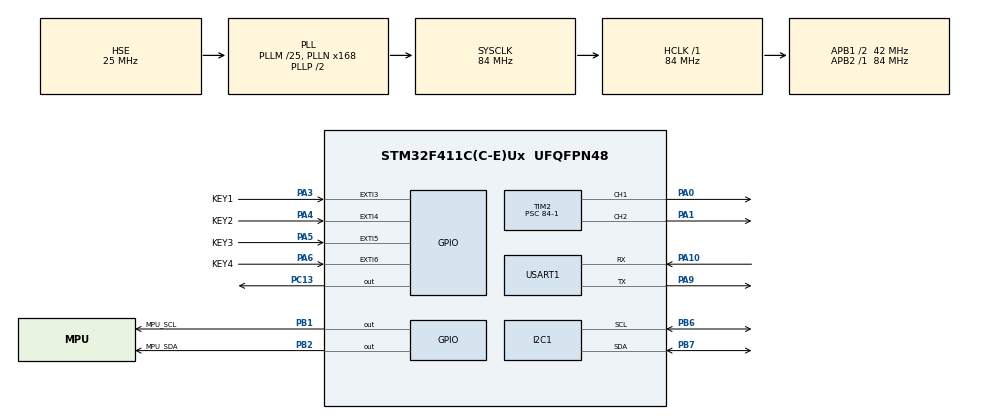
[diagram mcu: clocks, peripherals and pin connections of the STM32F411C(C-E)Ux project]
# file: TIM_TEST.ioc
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Mcu.Family=STM32F4
Mcu.Name=STM32F411C(C-E)Ux
Mcu.Package=UFQFPN48
NVIC.PriorityGroup=NVIC_PRIORITYGROUP_4
NVIC.TIM1_UP_TIM10_IRQn=true\:0\:0\:false\:false\:true\:true\:true\:true
NVIC.TIM2_IRQn=true\:0\:0\:false\:false\:true\:true\:true\:true
NVIC.USART1_IRQn=true\:0\:0\:false\:false\:true\:true\:true\:true
PA0-WKUP.Signal=S_TIM2_CH1_ETR
PA1.Signal=S_TIM2_CH2
PA10.Mode=Asynchronous
PA10.Signal=USART1_RX
PA13.Mode=Serial_Wire
PA13.Signal=SYS_JTMS-SWDIO
PA14.Mode=Serial_Wire
PA14.Signal=SYS_JTCK-SWCLK
PA3.GPIO_Label=KEY1
PA3.GPIO_ModeDefaultEXTI=GPIO_MODE_IT_FALLING
PA3.GPIO_PuPd=GPIO_PULLUP
PA3.Signal=GPXTI3
PA4.GPIO_Label=KEY2
PA4.GPIO_ModeDefaultEXTI=GPIO_MODE_IT_FALLING
PA4.GPIO_PuPd=GPIO_PULLUP
PA4.Signal=GPXTI4
PA5.GPIO_Label=KEY3
PA5.GPIO_ModeDefaultEXTI=GPIO_MODE_IT_FALLING
PA5.GPIO_PuPd=GPIO_PULLUP
PA5.Signal=GPXTI5
PA6.GPIO_Label=KEY4
PA6.GPIO_ModeDefaultEXTI=GPIO_MODE_IT_FALLING
PA6.GPIO_PuPd=GPIO_PULLUP
PA6.Signal=GPXTI6
PA9.Mode=Asynchronous
PA9.Signal=USART1_TX
PB1.GPIO_Label=MPU_SCL
PB1.GPIO_ModeDefaultOutputPP=GPIO_MODE_OUTPUT_OD
PB1.GPIO_PuPd=GPIO_PULLUP
PB1.Signal=GPIO_Output
PB2.GPIO_Label=MPU_SDA
PB2.GPIO_ModeDefaultOutputPP=GPIO_MODE_OUTPUT_OD
PB2.GPIO_PuPd=GPIO_PULLUP
PB2.Signal=GPIO_Output
PB6.Mode=I2C
PB6.Signal=I2C1_SCL
PB7.Mode=I2C
PB7.Signal=I2C1_SDA
PC13-ANTI_TAMP.GPIO_PuPd=GPIO_PULLUP
PC13-ANTI_TAMP.Signal=GPIO_Output
PH0\ -\ OSC_IN.Mode=HSE-External-Oscillator
PH0\ -\ OSC_IN.Signal=RCC_OSC_IN
PH1\ -\ OSC_OUT.Mode=HSE-External-Oscillator
PH1\ -\ OSC_OUT.Signal=RCC_OSC_OUT
ProjectManager.HeapSize=0x200
ProjectManager.StackSize=0x400
ProjectManager.TargetToolchain=MDK-ARM V5.32
RCC.48MHZClocksFreq_Value=42000000
RCC.AHBFreq_Value=84000000
RCC.APB1CLKDivider=RCC_HCLK_DIV2
RCC.APB1Freq_Value=42000000
RCC.APB1TimFreq_Value=84000000
RCC.APB2Freq_Value=84000000
RCC.APB2TimFreq_Value=84000000
RCC.CortexFreq_Value=84000000
RCC.HCLKFreq_Value=84000000
RCC.HSE_VALUE=25000000
RCC.HSI_VALUE=16000000
RCC.LSE_VALUE=32768
RCC.PLLM=25
RCC.PLLN=168
RCC.PLLSourceVirtual=RCC_PLLSOURCE_HSE
RCC.SYSCLKFreq_VALUE=84000000
RCC.SYSCLKSource=RCC_SYSCLKSOURCE_PLLCLK
RCC.VCOOutputFreq_Value=168000000
SH.S_TIM2_CH1_ETR.0=TIM2_CH1,PWM Generation1 CH1
SH.S_TIM2_CH2.0=TIM2_CH2,PWM Generation2 CH2
TIM1.Period=10000-1
TIM1.Prescaler=84-1
TIM2.Channel-PWM\ Generation1\ CH1=TIM_CHANNEL_1
TIM2.Channel-PWM\ Generation2\ CH2=TIM_CHANNEL_2
TIM2.Period=20000-1
TIM2.Prescaler=84-1
USART1.VirtualMode=VM_ASYNC
VP_TIM1_VS_ClockSourceINT.Mode=Internal
VP_TIM2_VS_ClockSourceINT.Mode=Internal
VP_TIM9_VS_ClockSourceINT.Mode=Internal
board=custom

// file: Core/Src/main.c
/* USER CODE BEGIN Header */
/**
  ******************************************************************************
  * @file           : main.c
  * @brief          : Main program body
  ******************************************************************************
  * @attention
  *
  * Copyright (c) 2025 STMicroelectronics.
  * All rights reserved.
  *
  * This software is licensed under terms that can be found in the LICENSE file
  * in the root directory of this software component.
  * If no LICENSE file comes with this software, it is provided AS-IS.
  *
  ******************************************************************************
  */
/* USER CODE END Header */
#include "main.h"
#include "i2c.h"
#include "tim.h"
#include "usart.h"
#include "gpio.h"

/* USER CODE BEGIN Includes */
#include "pid.h"
#include "control.h"
#include "servo.h"
#include "mpu6050.h"
#include "Print.h"
/* USER CODE END Includes */

/* USER CODE BEGIN PV */
uint8_t uart1_rxbuff;
uint8_t show_flag;
float pitch, roll, yaw;
/* USER CODE END PV */

void SystemClock_Config(void);

int main(void)
{

  /* MCU Configuration--------------------------------------------------------*/

  /* Reset of all peripherals, Initializes the Flash interface and the Systick. */
  HAL_Init();

  /* Configure the system clock */
  SystemClock_Config();

  /* Initialize all configured peripherals */
  MX_GPIO_Init();
  MX_TIM1_Init();
  MX_I2C1_Init();
  MX_TIM2_Init();
  MX_USART1_UART_Init();
  MX_TIM9_Init();
  /* USER CODE BEGIN 2 */
	MPU_Init();
	mpu_dmp_init();
	HAL_TIM_Base_Start_IT(&htim1);
	HAL_TIM_Base_Start(&htim2);
	HAL_TIM_PWM_Start(&htim2,TIM_CHANNEL_1);
	HAL_TIM_PWM_Start(&htim2,TIM_CHANNEL_2);
	__HAL_TIM_SET_COMPARE(&htim2,TIM_CHANNEL_1,1550);
	__HAL_TIM_SET_COMPARE(&htim2,TIM_CHANNEL_2,1380);
	HAL_UART_Receive_IT(&huart1,&uart1_rxbuff,1);

	set_p_i_d(&pid_positionX, 0.08, 0.015, 0.016);
  set_p_i_d(&pid_positionY, 0.08, 0.035, 0.016);
  set_p_i_d(&pid_speedX, -4.3, 0,  -0.0);
  set_p_i_d(&pid_speedY, 4.3, 0, 0.0);

  target_position.target_position_x = 127;
  target_position.target_position_y = 127;
  /* USER CODE END 2 */

  /* Infinite loop */
  /* USER CODE BEGIN WHILE */
  while (1)
  {
//		Set_servo_angle(90,90);
		show_flag ++;
		if (show_flag == 10){
			mpu_dmp_get_data(&pitch, &roll, &yaw);
			printf("%lf,%lf\r\n",pitch,roll);
		}

    /* USER CODE END WHILE */

  }
}

void SystemClock_Config(void)
{
  RCC_OscInitTypeDef RCC_OscInitStruct = {0};
  RCC_ClkInitTypeDef RCC_ClkInitStruct = {0};

  /** Configure the main internal regulator output voltage
  */
  __HAL_RCC_PWR_CLK_ENABLE();
  __HAL_PWR_VOLTAGESCALING_CONFIG(PWR_REGULATOR_VOLTAGE_SCALE1);

  /** Initializes the RCC Oscillators according to the specified parameters
  * in the RCC_OscInitTypeDef structure.
  */
  RCC_OscInitStruct.OscillatorType = RCC_OSCILLATORTYPE_HSE;
  RCC_OscInitStruct.HSEState = RCC_HSE_ON;
  RCC_OscInitStruct.PLL.PLLState = RCC_PLL_ON;
  RCC_OscInitStruct.PLL.PLLSource = RCC_PLLSOURCE_HSE;
  RCC_OscInitStruct.PLL.PLLM = 25;
  RCC_OscInitStruct.PLL.PLLN = 168;
  RCC_OscInitStruct.PLL.PLLP = RCC_PLLP_DIV2;
  RCC_OscInitStruct.PLL.PLLQ = 4;
  if (HAL_RCC_OscConfig(&RCC_OscInitStruct) != HAL_OK)
  {
    Error_Handler();
  }

  /** Initializes the CPU, AHB and APB buses clocks
  */
  RCC_ClkInitStruct.ClockType = RCC_CLOCKTYPE_HCLK|RCC_CLOCKTYPE_SYSCLK
                              |RCC_CLOCKTYPE_PCLK1|RCC_CLOCKTYPE_PCLK2;
  RCC_ClkInitStruct.SYSCLKSource = RCC_SYSCLKSOURCE_PLLCLK;
  RCC_ClkInitStruct.AHBCLKDivider = RCC_SYSCLK_DIV1;
  RCC_ClkInitStruct.APB1CLKDivider = RCC_HCLK_DIV2;
  RCC_ClkInitStruct.APB2CLKDivider = RCC_HCLK_DIV1;

  if (HAL_RCC_ClockConfig(&RCC_ClkInitStruct, FLASH_LATENCY_2) != HAL_OK)
  {
    Error_Handler();
  }
}

void Error_Handler(void)
{
  __disable_irq();
  while (1)
  {
  }
}
